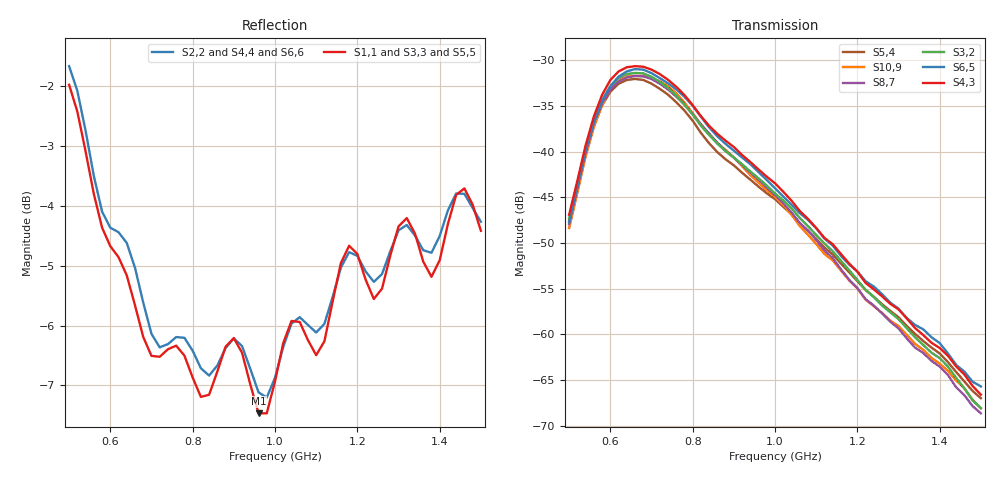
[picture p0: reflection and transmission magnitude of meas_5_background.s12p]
! Converted from meas_5_background.mat
! MATLAB 5.0 MAT-file, Platform: PCWIN64, Created on: Sat Nov 21 15:08:34 2026
! Ports 1-12 = antennas 1-12; IFBW=1000 Hz, power=0 dBm, doCalibration flag=1
! SW_A serial 12410080206: antennas 1 3 5 7 9 11
! SW_B serial 12410080235: antennas 2 4 6 8 10 12
! WARNING: Sij (i!=j) between two odd or two even ports was NOT MEASURED (NaN in source).
! Those entries are written as 0 0 placeholders. Do not treat them as data.
! Reference impedance 50 ohm is assumed (not stored in source).
# Hz S RI R 50
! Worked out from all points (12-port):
!   51 points, 500 MHz to 1.5 GHz, reference 50 ohm
!   strongest paths, dB at 500 MHz, 740 MHz, 1 GHz, 1.26 GHz, 1.5 GHz:
!     S4,3: -46.9, -32.1, -43.5, -55.8, -66.6
!     S6,5: -47.7, -32.5, -44.0, -55.6, -65.7
!     S3,2: -47.3, -33.0, -44.6, -56.8, -68.1
!     S8,7: -47.9, -33.2, -44.8, -57.7, -68.6
!     S10,9: -48.4, -32.8, -45.0, -57.6, -68.1
!     S5,4: -47.6, -33.7, -45.2, -56.7, -67.0
!   lowest |S11| = -7.5 dB at 960 MHz (marker M1), VSWR 2.47, Z = 24.3 - j20 ohm
!   |S11| at or under -10 dB: nowhere
